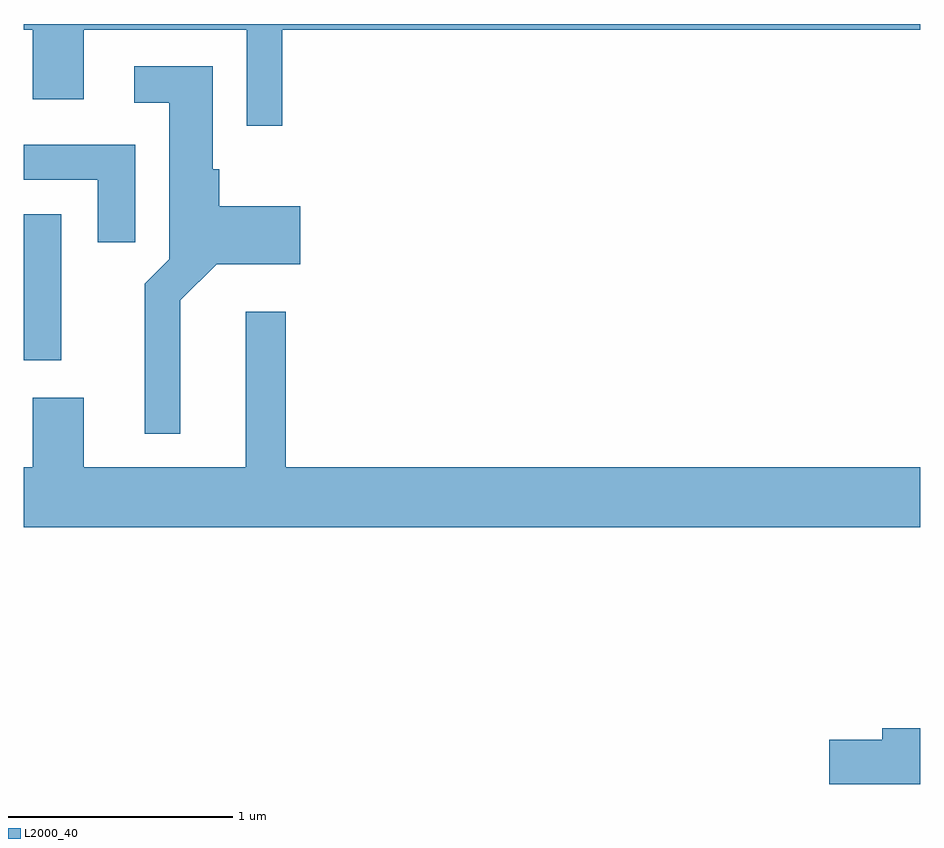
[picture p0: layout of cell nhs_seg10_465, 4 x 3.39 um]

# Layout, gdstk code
import gdstk
lib = gdstk.Library(unit=1e-6, precision=1e-09)
def R(c, l, rs):  # rectangles x0, y0, x1, y1
    for r in rs: c.add(gdstk.rectangle(r[:2], r[2:], *l))
def P(c, l, *ps):  # polygons
    for p in ps: c.add(gdstk.Polygon(p, *l))
L2000_40 = (2000, 40)

nhs_seg10_465 = lib.new_cell('nhs_seg10_465')
R(nhs_seg10_465, L2000_40, [(197.611,2199.021,197.779,2199.674)])
P(nhs_seg10_465, L2000_40, [(198.764,2200.496),(201.611,2200.496),(201.611,2200.522),(197.611,2200.522),(197.611,2200.496),(197.651,2200.496),(197.651,2200.186),(197.879,2200.186),(197.879,2200.496),(198.606,2200.496),(198.606,2200.068),(198.764,2200.068)],
  [(198.309,2199.289),(198.472,2199.451),(198.844,2199.451),(198.844,2199.709),(198.484,2199.709),(198.484,2199.874),(198.454,2199.874),(198.454,2200.334),(198.103,2200.334),(198.103,2200.171),(198.261,2200.171),(198.261,2199.472),(198.151,2199.362),(198.151,2198.693),(198.309,2198.693)],
  [(198.109,2199.984),(197.611,2199.984),(197.611,2199.826),(197.941,2199.826),(197.941,2199.548),(198.109,2199.548)],
  [(201.611,2198.544),(198.779,2198.544),(198.779,2199.239),(198.601,2199.239),(198.601,2198.544),(197.879,2198.544),(197.879,2198.854),(197.651,2198.854),(197.651,2198.544),(197.611,2198.544),(197.611,2198.276),(201.611,2198.276)],
  [(201.611,2197.379),(201.441,2197.379),(201.441,2197.329),(201.206,2197.329),(201.206,2197.131),(201.611,2197.131)])

lib.write_gds('nhs_seg10_465.gds')
